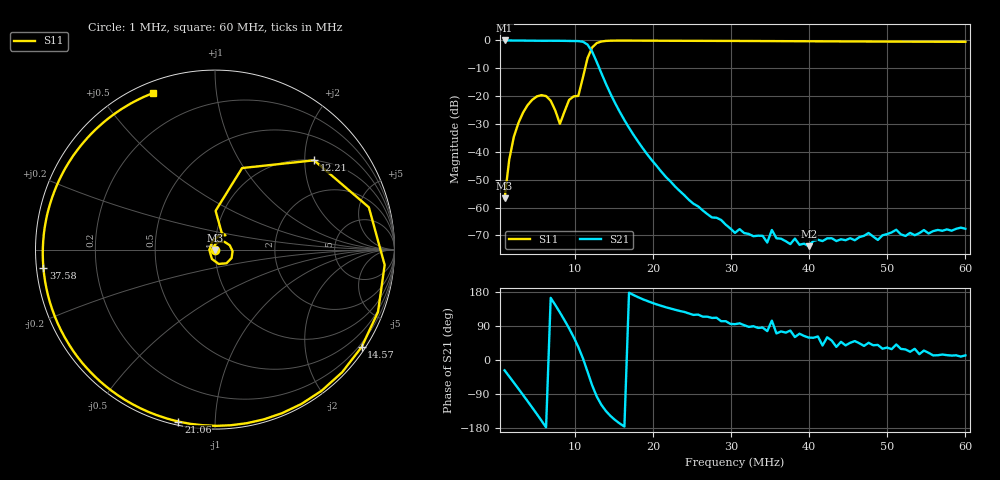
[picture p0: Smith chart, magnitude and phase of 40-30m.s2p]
# HZ S RI R 50
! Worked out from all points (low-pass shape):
!   101 points, 1 MHz to 60 MHz, reference 50 ohm
!   highest |S21| = -0.08 dB at 1 MHz (marker M1); lowest = -73.9 dB at 39.94 MHz (marker M2)
!   |S21| within 3 dB of the highest: start of sweep to 11.97 MHz
!   lowest |S11| = -56.8 dB at 1 MHz (marker M3), VSWR 1.00, Z = 50 - j0.139 ohm
!   |S11| at or under -10 dB: start of sweep to 11.31 MHz
!   S12 and S22 are empty: the file has one direction only
!   S11 on the Smith chart (normalised r, x): 1 MHz: 1.00, -0.00; 12.21 MHz: 1.00, +2.22; 14.57 MHz: 0.12, -3.31; 21.06 MHz: 0.02, -0.81; 37.58 MHz: 0.02, -0.05; 60 MHz: 0.05, +0.68
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1000000  -0.000435 -0.00139  0.8804 -0.4547  0 0  0 0
1590000  -0.00565 0.00446  0.7187 -0.6803  0 0  0 0
2770000  0.0033 0.0328  0.2407 -0.9572  0 0  0 0
4540000  0.0821 0.0241  -0.5725 -0.797  0 0  0 0
6310000  0.0643 -0.0761  -0.9771 -0.0385  0 0  0 0
8080000  -0.0317 -0.00114  -0.5667 0.7955  0 0  0 0
9260000  0.0301 0.0797  0.1142 0.9643  0 0  0 0
1.044e7  0.0376 0.0932  0.7964 0.5445  0 0  0 0
1.103e7  0.00329 0.2159  0.9379 0.0706  0 0  0 0
1.221e7  0.5516 0.4974  0.2447 -0.5735  0 0  0 0
1.339e7  0.9453 -0.0855  -0.1219 -0.226  0 0  0 0
1.457e7  0.8168 -0.543  -0.0922 -0.0578  0 0  0 0
1.693e7  0.3735 -0.9114  -0.0269 0.00117  0 0  0 0
2.106e7  -0.2039 -0.9582  -0.00352 0.00266  0 0  0 0
3.05e7  -0.7875 -0.5686  -2.8e-05 0.000351  0 0  0 0
3.463e7  -0.9193 -0.2951  5.6e-05 0.000229  0 0  0 0
3.522e7  -0.9301 -0.2557  -9.51e-05 0.000385  0 0  0 0
3.758e7  -0.9563 -0.1007  4.74e-05 0.000216  0 0  0 0
3.994e7  -0.957 0.0487  0.000104 0.000174  0 0  0 0
4.053e7  -0.9538 0.0851  0.000131 0.000215  0 0  0 0
5.056e7  -0.7302 0.6002  0.000315 0.000172  0 0  0 0
6e7  -0.3429 0.8727  0.000407 8.83e-05  0 0  0 0
